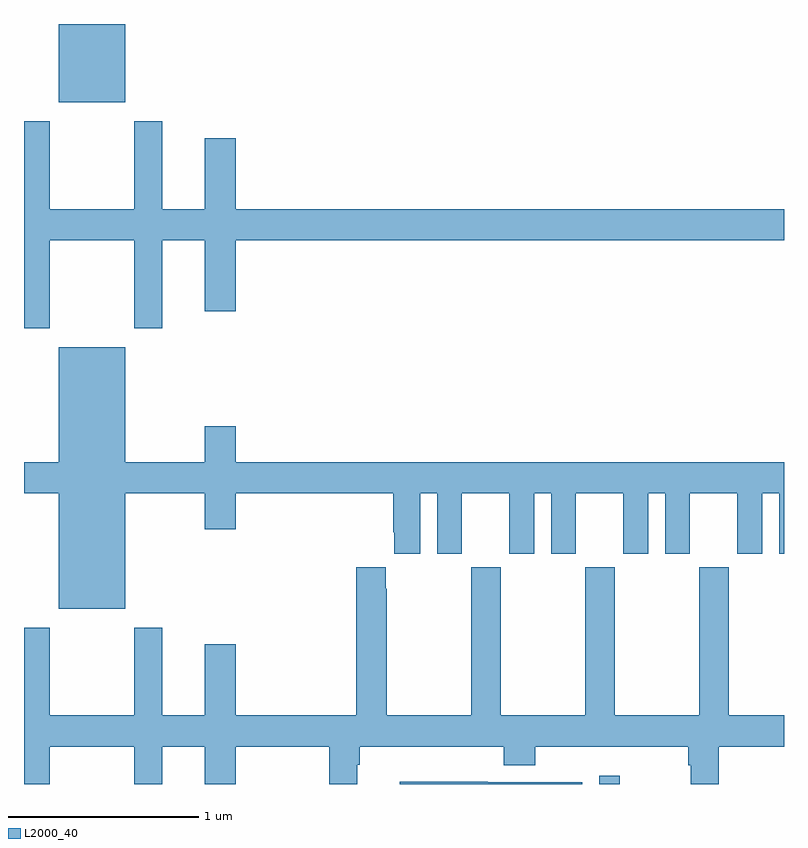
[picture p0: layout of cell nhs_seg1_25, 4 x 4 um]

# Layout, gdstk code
import gdstk
lib = gdstk.Library(unit=1e-6, precision=1e-09)
def R(c, l, rs):  # rectangles x0, y0, x1, y1
    for r in rs: c.add(gdstk.rectangle(r[:2], r[2:], *l))
def P(c, l, *ps):  # polygons
    for p in ps: c.add(gdstk.Polygon(p, *l))
L2000_40 = (2000, 40)

nhs_seg1_25 = lib.new_cell('nhs_seg1_25')
R(nhs_seg1_25, L2000_40, [(114.027,554.199,114.136,554.242), (111.182,557.786,111.532,558.199)])
P(nhs_seg1_25, L2000_40, [(111.135,557.06),(111.58,557.06),(111.58,556.599),(111.727,556.599),(111.727,557.06),(111.95,557.06),(111.95,556.686),(112.114,556.686),(112.114,557.06),(115,557.06),(115,557.224),(112.114,557.224),(112.114,557.599),(111.95,557.599),(111.95,557.224),(111.727,557.224),(111.727,557.686),(111.58,557.686),(111.58,557.224),(111.135,557.224),(111.135,557.686),(111,557.686),(111,556.599),(111.135,556.599)],
  [(111.532,555.728),(111.95,555.728),(111.95,555.54),(112.114,555.54),(112.114,555.728),(112.943,555.728),(112.943,555.523),(112.949,555.523),(112.949,555.411),(113.086,555.411),(113.086,555.728),(113.174,555.728),(113.174,555.411),(113.305,555.411),(113.305,555.728),(113.555,555.728),(113.555,555.411),(113.686,555.411),(113.686,555.728),(113.774,555.728),(113.774,555.411),(113.905,555.411),(113.905,555.728),(114.155,555.728),(114.155,555.411),(114.286,555.411),(114.286,555.728),(114.374,555.728),(114.374,555.411),(114.505,555.411),(114.505,555.728),(114.755,555.728),(114.755,555.411),(114.886,555.411),(114.886,555.728),(114.974,555.728),(114.974,555.411),(115,555.411),(115,555.892),(112.114,555.892),(112.114,556.081),(111.95,556.081),(111.95,555.892),(111.532,555.892),(111.532,556.498),(111.182,556.498),(111.182,555.892),(111,555.892),(111,555.728),(111.182,555.728),(111.182,555.122),(111.532,555.122)],
  [(111.135,554.396),(111.58,554.396),(111.58,554.199),(111.727,554.199),(111.727,554.396),(111.95,554.396),(111.95,554.199),(112.114,554.199),(112.114,554.396),(112.606,554.396),(112.606,554.199),(112.753,554.199),(112.753,554.3),(112.766,554.3),(112.766,554.396),(113.525,554.396),(113.525,554.297),(113.69,554.297),(113.69,554.396),(114.497,554.396),(114.497,554.298),(114.509,554.298),(114.509,554.199),(114.657,554.199),(114.657,554.396),(115,554.396),(115,554.56),(114.708,554.56),(114.708,555.34),(114.553,555.34),(114.553,554.56),(114.108,554.56),(114.108,555.34),(113.953,555.34),(113.953,554.56),(113.508,554.56),(113.508,555.34),(113.353,555.34),(113.353,554.56),(112.908,554.56),(112.908,555.227),(112.903,555.227),(112.903,555.34),(112.748,555.34),(112.748,554.56),(112.114,554.56),(112.114,554.935),(111.95,554.935),(111.95,554.56),(111.727,554.56),(111.727,555.022),(111.58,555.022),(111.58,554.56),(111.135,554.56),(111.135,555.022),(111,555.022),(111,554.199),(111.135,554.199)],
  [(113.937,554.208),(113.441,554.208),(113.441,554.21),(112.978,554.21),(112.978,554.199),(113.937,554.199)])

lib.write_gds('nhs_seg1_25.gds')
